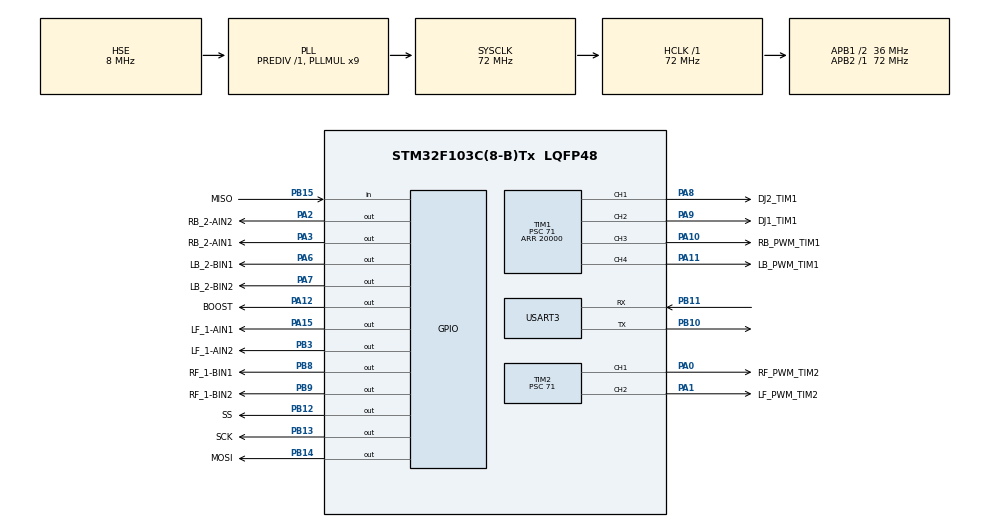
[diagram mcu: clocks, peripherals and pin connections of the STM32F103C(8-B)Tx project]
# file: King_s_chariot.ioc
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Mcu.Family=STM32F1
Mcu.Name=STM32F103C(8-B)Tx
Mcu.Package=LQFP48
NVIC.PriorityGroup=NVIC_PRIORITYGROUP_4
PA0-WKUP.GPIO_Label=RF_PWM_TIM2
PA0-WKUP.Signal=S_TIM2_CH1_ETR
PA1.GPIO_Label=LF_PWM_TIM2
PA1.Signal=S_TIM2_CH2
PA10.GPIO_Label=RB_PWM_TIM1
PA10.Signal=S_TIM1_CH3
PA11.GPIO_Label=LB_PWM_TIM1
PA11.Signal=S_TIM1_CH4
PA12.GPIO_Label=BOOST
PA12.Signal=GPIO_Output
PA13.Mode=Serial_Wire
PA13.Signal=SYS_JTMS-SWDIO
PA14.Mode=Serial_Wire
PA14.Signal=SYS_JTCK-SWCLK
PA15.GPIO_Label=LF_1-AIN1
PA15.Signal=GPIO_Output
PA2.GPIO_Label=RB_2-AIN2
PA2.Signal=GPIO_Output
PA3.GPIO_Label=RB_2-AIN1
PA3.Signal=GPIO_Output
PA6.GPIO_Label=LB_2-BIN1
PA6.Signal=GPIO_Output
PA7.GPIO_Label=LB_2-BIN2
PA7.Signal=GPIO_Output
PA8.GPIO_Label=DJ2_TIM1
PA8.Signal=S_TIM1_CH1
PA9.GPIO_Label=DJ1_TIM1
PA9.Signal=S_TIM1_CH2
PB10.Mode=Asynchronous
PB10.Signal=USART3_TX
PB11.Mode=Asynchronous
PB11.Signal=USART3_RX
PB12.GPIO_Label=SS
PB12.GPIO_Speed=GPIO_SPEED_FREQ_HIGH
PB12.Signal=GPIO_Output
PB13.GPIO_Label=SCK
PB13.GPIO_Speed=GPIO_SPEED_FREQ_HIGH
PB13.Signal=GPIO_Output
PB14.GPIO_Label=MOSI
PB14.GPIO_Speed=GPIO_SPEED_FREQ_HIGH
PB14.Signal=GPIO_Output
PB15.GPIO_Label=MISO
PB15.GPIO_PuPd=GPIO_PULLUP
PB15.Signal=GPIO_Input
PB3.GPIO_Label=LF_1-AIN2
PB3.Signal=GPIO_Output
PB8.GPIO_Label=RF_1-BIN1
PB8.Signal=GPIO_Output
PB9.GPIO_Label=RF_1-BIN2
PB9.Signal=GPIO_Output
PC14-OSC32_IN.Mode=LSE-External-Oscillator
PC14-OSC32_IN.Signal=RCC_OSC32_IN
PC15-OSC32_OUT.Mode=LSE-External-Oscillator
PC15-OSC32_OUT.Signal=RCC_OSC32_OUT
PD0-OSC_IN.Mode=HSE-External-Oscillator
PD0-OSC_IN.Signal=RCC_OSC_IN
PD1-OSC_OUT.Mode=HSE-External-Oscillator
PD1-OSC_OUT.Signal=RCC_OSC_OUT
ProjectManager.HeapSize=0x200
ProjectManager.StackSize=0x400
ProjectManager.TargetToolchain=MDK-ARM V5
RCC.AHBFreq_Value=72000000
RCC.APB1CLKDivider=RCC_HCLK_DIV2
RCC.APB1Freq_Value=36000000
RCC.APB1TimFreq_Value=72000000
RCC.APB2Freq_Value=72000000
RCC.APB2TimFreq_Value=72000000
RCC.HCLKFreq_Value=72000000
RCC.PLLMUL=RCC_PLL_MUL9
RCC.PLLSourceVirtual=RCC_PLLSOURCE_HSE
RCC.SYSCLKFreq_VALUE=72000000
RCC.SYSCLKSource=RCC_SYSCLKSOURCE_PLLCLK
RCC.USBFreq_Value=72000000
SH.S_TIM1_CH1.0=TIM1_CH1,PWM Generation1 CH1
SH.S_TIM1_CH2.0=TIM1_CH2,PWM Generation2 CH2
SH.S_TIM1_CH3.0=TIM1_CH3,PWM Generation3 CH3
SH.S_TIM1_CH4.0=TIM1_CH4,PWM Generation4 CH4
SH.S_TIM2_CH1_ETR.0=TIM2_CH1,PWM Generation1 CH1
SH.S_TIM2_CH2.0=TIM2_CH2,PWM Generation2 CH2
TIM1.Channel-PWM\ Generation1\ CH1=TIM_CHANNEL_1
TIM1.Channel-PWM\ Generation2\ CH2=TIM_CHANNEL_2
TIM1.Channel-PWM\ Generation3\ CH3=TIM_CHANNEL_3
TIM1.Channel-PWM\ Generation4\ CH4=TIM_CHANNEL_4
TIM1.Period=20000
TIM1.Prescaler=71
TIM2.Channel-PWM\ Generation1\ CH1=TIM_CHANNEL_1
TIM2.Channel-PWM\ Generation2\ CH2=TIM_CHANNEL_2
TIM2.Period=20000
TIM2.Prescaler=71
TIM3.Period=20000
TIM3.Prescaler=71
TIM4.Channel-PWM\ Generation1\ CH1=TIM_CHANNEL_1
TIM4.Channel-PWM\ Generation2\ CH2=TIM_CHANNEL_2
TIM4.Period=9999
TIM4.Prescaler=71
USART3.VirtualMode=VM_ASYNC
VP_TIM1_VS_ClockSourceINT.Mode=Internal
VP_TIM2_VS_ClockSourceINT.Mode=Internal
VP_TIM3_VS_ClockSourceINT.Mode=Internal
VP_TIM4_VS_ClockSourceINT.Mode=Internal
board=custom

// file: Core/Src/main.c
/* USER CODE BEGIN Header */
/**
 ******************************************************************************
 * @file           : main.c
 * @brief          : Main program body
 ******************************************************************************
 * @attention
 *
 * Copyright (c) 2025 STMicroelectronics.
 * All rights reserved.
 *
 * This software is licensed under terms that can be found in the LICENSE file
 * in the root directory of this software component.
 * If no LICENSE file comes with this software, it is provided AS-IS.
 *
 ******************************************************************************
 */
/* USER CODE END Header */
#include "main.h"
#include "gpio.h"
#include "mecanum/mecanum.h"
#include "ps2/PS2.h"
#include "string.h"
#include "tim.h"
#include "usart.h"
#include <math.h>

void SystemClock_Config(void);

/* USER CODE BEGIN 0 */
typedef struct
{
    GPIO_TypeDef *IN1_Port;
    uint16_t IN1_Pin;
    GPIO_TypeDef *IN2_Port;
    uint16_t IN2_Pin;
    TIM_HandleTypeDef *htim;
    uint32_t Channel;
} Motor_t;
Motor_t motor[4] = {
    {LF_1_AIN2_GPIO_Port, LF_1_AIN2_Pin, LF_1_AIN1_GPIO_Port, LF_1_AIN1_Pin, &htim2, TIM_CHANNEL_2},
    {RF_1_BIN1_GPIO_Port, RF_1_BIN1_Pin, RF_1_BIN2_GPIO_Port, RF_1_BIN2_Pin, &htim2, TIM_CHANNEL_1},
    {LB_2_BIN2_GPIO_Port, LB_2_BIN2_Pin, LB_2_BIN1_GPIO_Port, LB_2_BIN1_Pin, &htim1, TIM_CHANNEL_4},
    {RB_2_AIN1_GPIO_Port, RB_2_AIN1_Pin, RB_2_AIN2_GPIO_Port, RB_2_AIN2_Pin, &htim1, TIM_CHANNEL_3},
};

void Motor_Init(void)
{
}
void Motor_SetSpeed(uint8_t id, int16_t pwm)
{
    if (id > 3)
        return;
    if (pwm > 0)
    {
        HAL_GPIO_WritePin(motor[id].IN1_Port, motor[id].IN1_Pin, GPIO_PIN_SET);
        HAL_GPIO_WritePin(motor[id].IN2_Port, motor[id].IN2_Pin, GPIO_PIN_RESET);
        __HAL_TIM_SET_COMPARE(motor[id].htim, motor[id].Channel, pwm);
    }
    else if (pwm < 0)
    {
        HAL_GPIO_WritePin(motor[id].IN1_Port, motor[id].IN1_Pin, GPIO_PIN_RESET);
        HAL_GPIO_WritePin(motor[id].IN2_Port, motor[id].IN2_Pin, GPIO_PIN_SET);
        __HAL_TIM_SET_COMPARE(motor[id].htim, motor[id].Channel, -pwm);
    }
    else
    {
        HAL_GPIO_WritePin(motor[id].IN1_Port, motor[id].IN1_Pin, GPIO_PIN_RESET);
        HAL_GPIO_WritePin(motor[id].IN2_Port, motor[id].IN2_Pin, GPIO_PIN_RESET);
        __HAL_TIM_SET_COMPARE(motor[id].htim, motor[id].Channel, 0);
    }
}
double positionChangeSpeed = 0.2;
double UpDownPosition = 20;
double LeftRightPosition = 15;
/* USER CODE END 0 */

int main(void)
{

    /* MCU Configuration--------------------------------------------------------*/

    /* Reset of all peripherals, Initializes the Flash interface and the Systick. */
    HAL_Init();

    /* Configure the system clock */
    SystemClock_Config();

    /* Initialize all configured peripherals */
    MX_GPIO_Init();
    MX_TIM1_Init();
    MX_TIM2_Init();
    MX_TIM3_Init();
    MX_TIM4_Init();
    MX_USART3_UART_Init();
    PS2Buttons PS2;
    PS2_Init(&htim3, &PS2);

    /* USER CODE BEGIN 2 */

    HAL_TIM_PWM_Start(&htim1, TIM_CHANNEL_1);
    HAL_TIM_PWM_Start(&htim1, TIM_CHANNEL_2);
    HAL_TIM_PWM_Start(&htim1, TIM_CHANNEL_3);
    HAL_TIM_PWM_Start(&htim1, TIM_CHANNEL_4);

    HAL_TIM_PWM_Start(&htim2, TIM_CHANNEL_1);
    HAL_TIM_PWM_Start(&htim2, TIM_CHANNEL_2);
    /* USER CODE END 2 */

    /* Infinite loop */
    while (1)
    {

        /* USER CODE BEGIN 3 */
        // Update PS2 controller state
        PS2_Update();

        if (UpDownPosition > 100)
        {
            UpDownPosition = 100;
        }
        if (UpDownPosition < 0)
        {
            UpDownPosition = 0;
        }
        if (LeftRightPosition > 100)
        {
            LeftRightPosition = 100;
        }
        if (LeftRightPosition < 0)
        {
            LeftRightPosition = 0;
        }

        // Convert PS2 analog stick values (0-255) to normalized stick values (-1 to 1)
        // LX, LY control left stick (movement)
        // RX, RY control right stick (rotation, LY also affects forward/backward)
        float lx = ((float)PS2.LX - 128.00) / 128.0f; // Left stick X: -1 to 1 (left/right strafe)
        float ly = (128.00 - (float)PS2.LY) / 128.0f; // Left stick Y: -1 to 1 (forward/backward)
        float rx = ((float)PS2.RX - 128.00) / 128.0f; // Right stick X: -1 to 1 (rotation)

        // Deadzone
        if (fabsf(lx) < 0.1f)
            lx = 0.0f;
        if (fabsf(ly) < 0.1f)
            ly = 0.0f;
        if (fabsf(rx) < 0.1f)
            rx = 0.0f;

        // Scale velocities based on stick deflection magnitude
        // Adjust these coefficients to tune speed responsiveness
        float vx = ly * 600.0f;     // Forward velocity: max ~30
        float vy = lx * 600.0f;     // Lateral velocity: max ~30
        float omega = rx * 4000.0f; // Angular velocity: max ~150 (Increased to match translation speed)

        // Calculate motor PWM values using mecanum wheel kinematics
        // Fixed values for testing
        // float vx = 3.0f;
        // float vy = 3.0f;
        // float omega = 3.0f;
        int16_t motor_pwm[4];
        Mecanum_Calc(vx, vy, omega, motor_pwm);

        // Set motor speeds (this function handles the sign and applies PWM)

            Motor_SetSpeed(0, motor_pwm[0]);
            Motor_SetSpeed(1, motor_pwm[1]);
            Motor_SetSpeed(2, motor_pwm[2]);
            Motor_SetSpeed(3, motor_pwm[3]);

        // HAL_GPIO_WritePin(LF_1_AIN2_GPIO_Port, LF_1_AIN2_Pin, GPIO_PIN_SET);
        // HAL_GPIO_WritePin(LF_1_AIN1_GPIO_Port, LF_1_AIN1_Pin, GPIO_PIN_RESET);
        // __HAL_TIM_SET_COMPARE(&htim2, TIM_CHANNEL_2, 35560);

        double dutyUpDown = ((10.00 * UpDownPosition / 100) + 2.50) / 100.00 * 20000.00;
        double dutyLeftRight = ((10.00 * LeftRightPosition / 100) + 2.50) / 100.00 * 20000.00;
        Motor_Init();
        if (PS2.UP)
        {
            UpDownPosition += positionChangeSpeed;
        }
        else if (PS2.DOWN)
        {
            UpDownPosition -= positionChangeSpeed;
        }
        if (PS2.LEFT)
        {
            LeftRightPosition -= positionChangeSpeed;
        }
        else if (PS2.RIGHT)
        {
            LeftRightPosition += positionChangeSpeed;
        }

        // if (PS2.CIRCLE)
        // {
        //     Motor_SetSpeed(1, 35580);
        // }else{
        //     Motor_SetSpeed(1, 0);
        // }

        if (PS2.SQUARE)
        {
            UpDownPosition = 20;
            LeftRightPosition = 15;
        }

        if (PS2.R2)
        {
            HAL_GPIO_WritePin(BOOST_GPIO_Port, BOOST_Pin, GPIO_PIN_SET);
        }
        else
        {
            HAL_GPIO_WritePin(BOOST_GPIO_Port, BOOST_Pin, GPIO_PIN_RESET);
        }

        __HAL_TIM_SetCompare(&htim1, TIM_CHANNEL_2, dutyUpDown);
        __HAL_TIM_SetCompare(&htim1, TIM_CHANNEL_1, dutyLeftRight);

        // Control loop frequency: 50ms = 20Hz
        // Adjust if needed for different control responsiveness
        HAL_Delay(5);
    }
    /* USER CODE END 3 */
}

void SystemClock_Config(void)
{
    RCC_OscInitTypeDef RCC_OscInitStruct = {0};
    RCC_ClkInitTypeDef RCC_ClkInitStruct = {0};

    /** Initializes the RCC Oscillators according to the specified parameters
     * in the RCC_OscInitTypeDef structure.
     */
    RCC_OscInitStruct.OscillatorType = RCC_OSCILLATORTYPE_HSE;
    RCC_OscInitStruct.HSEState = RCC_HSE_ON;
    RCC_OscInitStruct.HSEPredivValue = RCC_HSE_PREDIV_DIV1;
    RCC_OscInitStruct.HSIState = RCC_HSI_ON;
    RCC_OscInitStruct.PLL.PLLState = RCC_PLL_ON;
    RCC_OscInitStruct.PLL.PLLSource = RCC_PLLSOURCE_HSE;
    RCC_OscInitStruct.PLL.PLLMUL = RCC_PLL_MUL9;
    if (HAL_RCC_OscConfig(&RCC_OscInitStruct) != HAL_OK)
    {
        Error_Handler();
    }

    /** Initializes the CPU, AHB and APB buses clocks
     */
    RCC_ClkInitStruct.ClockType = RCC_CLOCKTYPE_HCLK | RCC_CLOCKTYPE_SYSCLK | RCC_CLOCKTYPE_PCLK1 | RCC_CLOCKTYPE_PCLK2;
    RCC_ClkInitStruct.SYSCLKSource = RCC_SYSCLKSOURCE_PLLCLK;
    RCC_ClkInitStruct.AHBCLKDivider = RCC_SYSCLK_DIV1;
    RCC_ClkInitStruct.APB1CLKDivider = RCC_HCLK_DIV2;
    RCC_ClkInitStruct.APB2CLKDivider = RCC_HCLK_DIV1;

    if (HAL_RCC_ClockConfig(&RCC_ClkInitStruct, FLASH_LATENCY_2) != HAL_OK)
    {
        Error_Handler();
    }
}

void Error_Handler(void)
{
    __disable_irq();
    while (1)
    {
    }
}
